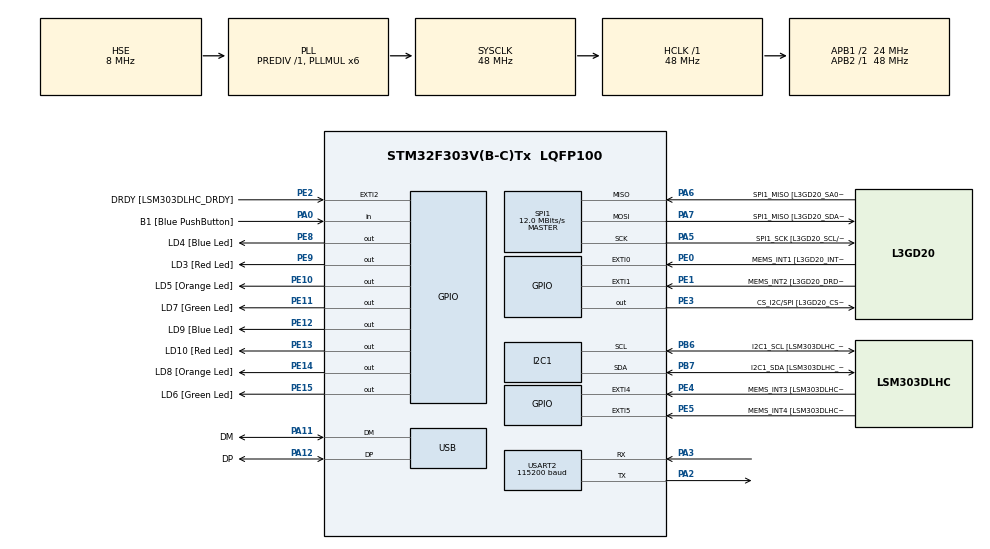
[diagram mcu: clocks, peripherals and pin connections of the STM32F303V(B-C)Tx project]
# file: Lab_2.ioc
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I2C1.Timing=0x2000090E
I2C1.Timing-I2C=0x2000090E
Mcu.Family=STM32F3
Mcu.Name=STM32F303V(B-C)Tx
Mcu.Package=LQFP100
NVIC.PriorityGroup=NVIC_PRIORITYGROUP_0
PA0.GPIO_Label=B1 [Blue PushButton]
PA0.Signal=GPIO_Input
PA11.GPIO_Label=DM
PA11.Mode=Device
PA11.Signal=USB_DM
PA12.GPIO_Label=DP
PA12.Mode=Device
PA12.Signal=USB_DP
PA13.GPIO_Label=SWDIO
PA13.Mode=Serial_Wire
PA13.Signal=SYS_JTMS-SWDIO
PA14.GPIO_Label=SWCLK
PA14.Mode=Serial_Wire
PA14.Signal=SYS_JTCK-SWCLK
PA2.Mode=Asynchronous
PA2.Signal=USART2_TX
PA3.Mode=Asynchronous
PA3.Signal=USART2_RX
PA5.GPIO_Label=SPI1_SCK [L3GD20_SCL/SPC]
PA5.Mode=Full_Duplex_Master
PA5.Signal=SPI1_SCK
PA6.GPIO_Label=SPI1_MISO [L3GD20_SA0/SDO]
PA6.Mode=Full_Duplex_Master
PA6.Signal=SPI1_MISO
PA7.GPIO_Label=SPI1_MISO [L3GD20_SDA/SDI/SDO]
PA7.Mode=Full_Duplex_Master
PA7.Signal=SPI1_MOSI
PB3.GPIO_Label=SWO
PB3.Signal=SYS_JTDO-TRACESWO
PB6.GPIO_Label=I2C1_SCL [LSM303DLHC_SCL]
PB6.GPIO_Pu=GPIO_PULLUP
PB6.Mode=I2C
PB6.Signal=I2C1_SCL
PB7.GPIO_Label=I2C1_SDA [LSM303DLHC_SDA]
PB7.GPIO_Pu=GPIO_PULLUP
PB7.Mode=I2C
PB7.Signal=I2C1_SDA
PC14-OSC32_IN.GPIO_Label=OSC32_IN
PC14-OSC32_IN.Signal=RCC_OSC32_IN
PC15-OSC32_OUT.GPIO_Label=OSC32_OUT
PC15-OSC32_OUT.Signal=RCC_OSC32_OUT
PE0.GPIO_Label=MEMS_INT1 [L3GD20_INT1]
PE0.GPIO_ModeDefaultEXTI=GPIO_MODE_EVT_RISING
PE0.Signal=GPXTI0
PE1.GPIO_Label=MEMS_INT2 [L3GD20_DRDY/INT2]
PE1.GPIO_ModeDefaultEXTI=GPIO_MODE_EVT_RISING
PE1.Signal=GPXTI1
PE10.GPIO_Label=LD5 [Orange Led]
PE10.Signal=GPIO_Output
PE11.GPIO_Label=LD7 [Green Led]
PE11.Signal=GPIO_Output
PE12.GPIO_Label=LD9 [Blue Led]
PE12.Signal=GPIO_Output
PE13.GPIO_Label=LD10 [Red Led]
PE13.Signal=GPIO_Output
PE14.GPIO_Label=LD8 [Orange Led]
PE14.Signal=GPIO_Output
PE15.GPIO_Label=LD6 [Green Led]
PE15.Signal=GPIO_Output
PE2.GPIO_Label=DRDY [LSM303DLHC_DRDY]
PE2.GPIO_ModeDefaultEXTI=GPIO_MODE_EVT_RISING
PE2.Signal=GPXTI2
PE3.GPIO_Label=CS_I2C/SPI [L3GD20_CS_I2C/SPI]
PE3.Signal=GPIO_Output
PE4.GPIO_Label=MEMS_INT3 [LSM303DLHC_INT1]
PE4.GPIO_ModeDefaultEXTI=GPIO_MODE_EVT_RISING
PE4.Signal=GPXTI4
PE5.GPIO_Label=MEMS_INT4 [LSM303DLHC_INT2]
PE5.GPIO_ModeDefaultEXTI=GPIO_MODE_EVT_RISING
PE5.Signal=GPXTI5
PE8.GPIO_Label=LD4 [Blue Led]
PE8.Signal=GPIO_Output
PE9.GPIO_Label=LD3 [Red Led]
PE9.Signal=GPIO_Output
PF0-OSC_IN.GPIO_Label=OSC_IN
PF0-OSC_IN.Mode=HSE-External-Clock-Source
PF0-OSC_IN.Signal=RCC_OSC_IN
PF1-OSC_OUT.GPIO_Label=OSC_OUT
PF1-OSC_OUT.Signal=RCC_OSC_OUT
ProjectManager.HeapSize=0x200
ProjectManager.StackSize=0x400
ProjectManager.TargetToolchain=CMake
RCC.AHBFreq_Value=48000000
RCC.APB1CLKDivider=RCC_HCLK_DIV2
RCC.APB1Freq_Value=24000000
RCC.APB1TimFreq_Value=48000000
RCC.APB2Freq_Value=48000000
RCC.APB2TimFreq_Value=48000000
RCC.CortexFreq_Value=48000000
RCC.HCLKFreq_Value=48000000
RCC.HSE_VALUE=8000000
RCC.HSI_VALUE=8000000
RCC.LSE_VALUE=32768
RCC.PLLMUL=RCC_PLL_MUL6
RCC.SYSCLKFreq_VALUE=48000000
RCC.SYSCLKSourceVirtual=RCC_SYSCLKSOURCE_PLLCLK
RCC.USBFreq_Value=48000000
SPI1.BaudRatePrescaler=SPI_BAUDRATEPRESCALER_4
SPI1.BaudRatePrescaler-Full_Duplex_Master=SPI_BAUDRATEPRESCALER_2
SPI1.CalculateBaudRate=12.0 MBits/s
SPI1.CalculateBaudRate-Full_Duplex_Master=24.0 MBits/s
SPI1.Direction=SPI_DIRECTION_2LINES
SPI1.Mode=SPI_MODE_MASTER
SPI1.Mode-Full_Duplex_Master=SPI_MODE_MASTER
SPI1.VirtualType=VM_MASTER
USART2.BaudRate=115200
USART2.VirtualMode-Asynchronous=VM_ASYNC
board=STM32F3DISCOVERY

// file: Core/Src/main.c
/* USER CODE BEGIN Header */
/**
  ******************************************************************************
  * @file           : main.c
  * @brief          : Main program body
  ******************************************************************************
  * @attention
  *
  * Copyright (c) 2026 STMicroelectronics.
  * All rights reserved.
  *
  * This software is licensed under terms that can be found in the LICENSE file
  * in the root directory of this software component.
  * If no LICENSE file comes with this software, it is provided AS-IS.
  *
  ******************************************************************************
  */
/* USER CODE END Header */
#include "main.h"
#include "stdarg.h"
#include "stdio.h"
#include <strings.h>
#include <string.h>

I2C_HandleTypeDef hi2c1;

SPI_HandleTypeDef hspi1;

UART_HandleTypeDef huart2;

PCD_HandleTypeDef hpcd_USB_FS;

void SystemClock_Config(void);
static void MX_GPIO_Init(void);
static void MX_I2C1_Init(void);
static void MX_SPI1_Init(void);
static void MX_USART2_UART_Init(void);
static void MX_USB_PCD_Init(void);

  void myPrintf(const char* fmt, ...)
  {
    char buffer[512];

    // Step 2: Initialize the variadic argument list.
    va_list args;
    va_start(args, fmt);

    // Step 3: Format the final string using vsnprintf.
    // vsnprintf is "v" (takes a va_list) and "n" (prevents buffer overflow).
    int length = vsnprintf(buffer, sizeof(buffer), fmt, args);

    // Clean up the variadic argument list
    va_end(args);

    // Step 4: Transmit the string over UART using HAL_UART_Transmit.
    // We cast buffer to (uint8_t*) as required by the HAL library.
    if (length > 0) {
        HAL_UART_Transmit(&huart2, (uint8_t*)buffer, (uint16_t)length, HAL_MAX_DELAY);
    }
  };

int main(void)
{

  /* MCU Configuration--------------------------------------------------------*/

  /* Reset of all peripherals, Initializes the Flash interface and the Systick. */
  HAL_Init();

  /* Configure the system clock */
  SystemClock_Config();

  /* Initialize all configured peripherals */
  MX_GPIO_Init();
  MX_I2C1_Init();
  MX_SPI1_Init();
  MX_USART2_UART_Init();
  MX_USB_PCD_Init();
  /* USER CODE BEGIN 2 */

  // TASK 2
  void verifyIdentity(int a, int b) {
      // (a) Declare variables (passed as parameters here for flexibility)

      // (b) Compute the Left-Hand Side (LHS)
      // (a + b)^2
      int lhs = (a + b) * (a + b);

      // (c) Compute the Right-Hand Side (RHS)
      // a^2 + 2ab + b^2
      int rhs = (a * a) + (2 * a * b) + (b * b);

      // (d) Display values and verify the identity
      myPrintf("-----------------------------\r\n");
      myPrintf("--- Identity Verification ---\r\n");
      myPrintf("Inputs: a = %d, b = %d\r\n", a, b);
      myPrintf("LHS calculation: (a+b)^2 = %d\r\n", lhs);
      myPrintf("RHS calculation: a^2 + 2ab + b^2 = %d\r\n", rhs);

      if (lhs == rhs) {
          myPrintf("Result: The identity holds TRUE.\r\n");
      } else {
          myPrintf("Result: The identity holds FALSE (Check logic).\r\n");
      }
      myPrintf("-----------------------------\r\n");
  }

  //Task 3
  void performEncryptionTask(void) {

    char str[] = "Microcontrollers";
    // (b) Define a numerical encryption key
    int key = 9892;
    int shift = key % 256; // Using modulo to ensure it stays within ASCII range

    int len = strlen(str);

    myPrintf("-----------------------------\r\n");
    myPrintf("Original String: %s\r\n", str);
    myPrintf("Encryption Key: %d (Shift: %d)\r\n", key, shift);

    // (c) & (d) Encrypt each character and print
    for(int i = 0; i < len; i++) {
        str[i] = str[i] + shift;
    }
    myPrintf("Encrypted String: %s\r\n", str);

    // (e) & (f) Decrypt by reversing the operation and print
    for(int i = 0; i < len; i++) {
        str[i] = str[i] - shift;
    }
    myPrintf("Decrypted String: %s\r\n", str);

    myPrintf("Verification: Identity confirmed!\r\n");
    myPrintf("-----------------------------\r\n");
  }

  //Task 4
  // Helper function to format and print a 2x2 matrix
  void printMatrix(int mat[2][2]) {
      for (int i = 0; i < 2; i++) {
          myPrintf("| %d  %d |\r\n", mat[i][0], mat[i][1]);
      }
      myPrintf("\r\n");
  }
  void performMatrixMultiplication(void) {
    // (a) Declare two 2x2 matrices with predefined values
    int A[2][2] = {
        {1, 2},
        {3, 4}
    };
    int B[2][2] = {
        {5, 6},
        {7, 8}
    };
    int C[2][2] = {0}; // Resultant matrix initialized to zero

    // (b) Multiply matrices using nested loops
    // i = row of A, j = column of B, k = common dimension
    for (int i = 0; i < 2; i++) {
        for (int j = 0; j < 2; j++) {
            for (int k = 0; k < 2; k++) {
                C[i][j] += A[i][k] * B[k][j];
            }
        }
    }

    // (c) Print all three matrices
    myPrintf("Matrix A:\r\n");
    printMatrix(A);

    myPrintf("Matrix B:\r\n");
    printMatrix(B);

    myPrintf("Resultant Matrix C (A * B):\r\n");
    printMatrix(C);
  }

  //TASK 5
  void findArmstrongNumbers(void) {
    myPrintf("Searching for 3-digit Armstrong numbers...\r\n");

    for (int n = 100; n <= 999; n++) {
        // (b) Extract digits
        int hundreds = n / 100;           // Integer division gets the first digit
        int tens = (n / 10) % 10;         // Remove last digit, then take remainder
        int units = n % 10;               // Remainder of division by 10

        // Compute the sum of the cubes of the digits
        int sum = (hundreds * hundreds * hundreds) +
                  (tens * tens * tens) +
                  (units * units * units);

        // Compare to original number and (c) print if it matches
        if (sum == n) {
            myPrintf("Found: %d  (%d^3 + %d^3 + %d^3 = %d)\r\n", n, hundreds, tens, units, sum);
        }
    }

    myPrintf("Search complete.\r\n");
  }
  /* USER CODE END 2 */

  /* Infinite loop */
  /* USER CODE BEGIN WHILE */

  //TASK 1
  int x = 42;
  float y = 3.14;
  myPrintf("TASK 1:");
  myPrintf("-----------------------------\r\n");
  myPrintf("Value of x = %d, y = %.2f\r\n", x, y);
  myPrintf("-----------------------------\r\n");

  myPrintf("\r\n");
  //TASK 2
  myPrintf("TASK 2:");
  verifyIdentity(5, 3);

  myPrintf("\r\n");

  //Task 3
  myPrintf("TASK 3:");
  performEncryptionTask();

  myPrintf("\r\n");

  //Task 4
  myPrintf("TASK 4:");
  myPrintf("-----------------------------\r\n");
  performMatrixMultiplication();
  myPrintf("-----------------------------\r\n");

  myPrintf("\r\n");
  //Task 5
  myPrintf("Task 5:-----------------------------\r\n");
  findArmstrongNumbers();
  myPrintf("-----------------------------\r\n");
  while (1)
  {
    /* USER CODE END WHILE */
  }
  /* USER CODE END 3 */
}

void SystemClock_Config(void)
{
  RCC_OscInitTypeDef RCC_OscInitStruct = {0};
  RCC_ClkInitTypeDef RCC_ClkInitStruct = {0};
  RCC_PeriphCLKInitTypeDef PeriphClkInit = {0};

  /** Initializes the RCC Oscillators according to the specified parameters
  * in the RCC_OscInitTypeDef structure.
  */
  RCC_OscInitStruct.OscillatorType = RCC_OSCILLATORTYPE_HSI|RCC_OSCILLATORTYPE_HSE;
  RCC_OscInitStruct.HSEState = RCC_HSE_BYPASS;
  RCC_OscInitStruct.HSEPredivValue = RCC_HSE_PREDIV_DIV1;
  RCC_OscInitStruct.HSIState = RCC_HSI_ON;
  RCC_OscInitStruct.HSICalibrationValue = RCC_HSICALIBRATION_DEFAULT;
  RCC_OscInitStruct.PLL.PLLState = RCC_PLL_ON;
  RCC_OscInitStruct.PLL.PLLSource = RCC_PLLSOURCE_HSE;
  RCC_OscInitStruct.PLL.PLLMUL = RCC_PLL_MUL6;
  if (HAL_RCC_OscConfig(&RCC_OscInitStruct) != HAL_OK)
  {
    Error_Handler();
  }

  /** Initializes the CPU, AHB and APB buses clocks
  */
  RCC_ClkInitStruct.ClockType = RCC_CLOCKTYPE_HCLK|RCC_CLOCKTYPE_SYSCLK
                              |RCC_CLOCKTYPE_PCLK1|RCC_CLOCKTYPE_PCLK2;
  RCC_ClkInitStruct.SYSCLKSource = RCC_SYSCLKSOURCE_PLLCLK;
  RCC_ClkInitStruct.AHBCLKDivider = RCC_SYSCLK_DIV1;
  RCC_ClkInitStruct.APB1CLKDivider = RCC_HCLK_DIV2;
  RCC_ClkInitStruct.APB2CLKDivider = RCC_HCLK_DIV1;

  if (HAL_RCC_ClockConfig(&RCC_ClkInitStruct, FLASH_LATENCY_1) != HAL_OK)
  {
    Error_Handler();
  }
  PeriphClkInit.PeriphClockSelection = RCC_PERIPHCLK_USB|RCC_PERIPHCLK_USART2
                              |RCC_PERIPHCLK_I2C1;
  PeriphClkInit.Usart2ClockSelection = RCC_USART2CLKSOURCE_PCLK1;
  PeriphClkInit.I2c1ClockSelection = RCC_I2C1CLKSOURCE_HSI;
  PeriphClkInit.USBClockSelection = RCC_USBCLKSOURCE_PLL;
  if (HAL_RCCEx_PeriphCLKConfig(&PeriphClkInit) != HAL_OK)
  {
    Error_Handler();
  }
}

static void MX_I2C1_Init(void)
{

  hi2c1.Instance = I2C1;
  hi2c1.Init.Timing = 0x2000090E;
  hi2c1.Init.OwnAddress1 = 0;
  hi2c1.Init.AddressingMode = I2C_ADDRESSINGMODE_7BIT;
  hi2c1.Init.DualAddressMode = I2C_DUALADDRESS_DISABLE;
  hi2c1.Init.OwnAddress2 = 0;
  hi2c1.Init.OwnAddress2Masks = I2C_OA2_NOMASK;
  hi2c1.Init.GeneralCallMode = I2C_GENERALCALL_DISABLE;
  hi2c1.Init.NoStretchMode = I2C_NOSTRETCH_DISABLE;
  if (HAL_I2C_Init(&hi2c1) != HAL_OK)
  {
    Error_Handler();
  }

  /** Configure Analogue filter
  */
  if (HAL_I2CEx_ConfigAnalogFilter(&hi2c1, I2C_ANALOGFILTER_ENABLE) != HAL_OK)
  {
    Error_Handler();
  }

  /** Configure Digital filter
  */
  if (HAL_I2CEx_ConfigDigitalFilter(&hi2c1, 0) != HAL_OK)
  {
    Error_Handler();
  }

}

static void MX_SPI1_Init(void)
{

  /* SPI1 parameter configuration*/
  hspi1.Instance = SPI1;
  hspi1.Init.Mode = SPI_MODE_MASTER;
  hspi1.Init.Direction = SPI_DIRECTION_2LINES;
  hspi1.Init.DataSize = SPI_DATASIZE_4BIT;
  hspi1.Init.CLKPolarity = SPI_POLARITY_LOW;
  hspi1.Init.CLKPhase = SPI_PHASE_1EDGE;
  hspi1.Init.NSS = SPI_NSS_SOFT;
  hspi1.Init.BaudRatePrescaler = SPI_BAUDRATEPRESCALER_4;
  hspi1.Init.FirstBit = SPI_FIRSTBIT_MSB;
  hspi1.Init.TIMode = SPI_TIMODE_DISABLE;
  hspi1.Init.CRCCalculation = SPI_CRCCALCULATION_DISABLE;
  hspi1.Init.CRCPolynomial = 7;
  hspi1.Init.CRCLength = SPI_CRC_LENGTH_DATASIZE;
  hspi1.Init.NSSPMode = SPI_NSS_PULSE_ENABLE;
  if (HAL_SPI_Init(&hspi1) != HAL_OK)
  {
    Error_Handler();
  }

}

static void MX_USART2_UART_Init(void)
{

  huart2.Instance = USART2;
  huart2.Init.BaudRate = 115200;
  huart2.Init.WordLength = UART_WORDLENGTH_8B;
  huart2.Init.StopBits = UART_STOPBITS_1;
  huart2.Init.Parity = UART_PARITY_NONE;
  huart2.Init.Mode = UART_MODE_TX_RX;
  huart2.Init.HwFlowCtl = UART_HWCONTROL_NONE;
  huart2.Init.OverSampling = UART_OVERSAMPLING_16;
  huart2.Init.OneBitSampling = UART_ONE_BIT_SAMPLE_DISABLE;
  huart2.AdvancedInit.AdvFeatureInit = UART_ADVFEATURE_NO_INIT;
  if (HAL_UART_Init(&huart2) != HAL_OK)
  {
    Error_Handler();
  }

}

static void MX_USB_PCD_Init(void)
{

  hpcd_USB_FS.Instance = USB;
  hpcd_USB_FS.Init.dev_endpoints = 8;
  hpcd_USB_FS.Init.speed = PCD_SPEED_FULL;
  hpcd_USB_FS.Init.phy_itface = PCD_PHY_EMBEDDED;
  hpcd_USB_FS.Init.low_power_enable = DISABLE;
  hpcd_USB_FS.Init.battery_charging_enable = DISABLE;
  if (HAL_PCD_Init(&hpcd_USB_FS) != HAL_OK)
  {
    Error_Handler();
  }

}

static void MX_GPIO_Init(void)
{
  GPIO_InitTypeDef GPIO_InitStruct = {0};

  /* GPIO Ports Clock Enable */
  __HAL_RCC_GPIOE_CLK_ENABLE();
  __HAL_RCC_GPIOC_CLK_ENABLE();
  __HAL_RCC_GPIOF_CLK_ENABLE();
  __HAL_RCC_GPIOA_CLK_ENABLE();
  __HAL_RCC_GPIOB_CLK_ENABLE();

  /*Configure GPIO pin Output Level */
  HAL_GPIO_WritePin(GPIOE, CS_I2C_SPI_Pin|LD4_Pin|LD3_Pin|LD5_Pin
                          |LD7_Pin|LD9_Pin|LD10_Pin|LD8_Pin
                          |LD6_Pin, GPIO_PIN_RESET);

  /*Configure GPIO pins : DRDY_Pin MEMS_INT3_Pin MEMS_INT4_Pin MEMS_INT1_Pin
                           MEMS_INT2_Pin */
  GPIO_InitStruct.Pin = DRDY_Pin|MEMS_INT3_Pin|MEMS_INT4_Pin|MEMS_INT1_Pin
                          |MEMS_INT2_Pin;
  GPIO_InitStruct.Mode = GPIO_MODE_EVT_RISING;
  GPIO_InitStruct.Pull = GPIO_NOPULL;
  HAL_GPIO_Init(GPIOE, &GPIO_InitStruct);

  /*Configure GPIO pins : CS_I2C_SPI_Pin LD4_Pin LD3_Pin LD5_Pin
                           LD7_Pin LD9_Pin LD10_Pin LD8_Pin
                           LD6_Pin */
  GPIO_InitStruct.Pin = CS_I2C_SPI_Pin|LD4_Pin|LD3_Pin|LD5_Pin
                          |LD7_Pin|LD9_Pin|LD10_Pin|LD8_Pin
                          |LD6_Pin;
  GPIO_InitStruct.Mode = GPIO_MODE_OUTPUT_PP;
  GPIO_InitStruct.Pull = GPIO_NOPULL;
  GPIO_InitStruct.Speed = GPIO_SPEED_FREQ_LOW;
  HAL_GPIO_Init(GPIOE, &GPIO_InitStruct);

  /*Configure GPIO pin : B1_Pin */
  GPIO_InitStruct.Pin = B1_Pin;
  GPIO_InitStruct.Mode = GPIO_MODE_INPUT;
  GPIO_InitStruct.Pull = GPIO_NOPULL;
  HAL_GPIO_Init(B1_GPIO_Port, &GPIO_InitStruct);

}

void Error_Handler(void)
{
  __disable_irq();
  while (1)
  {
  }
}
